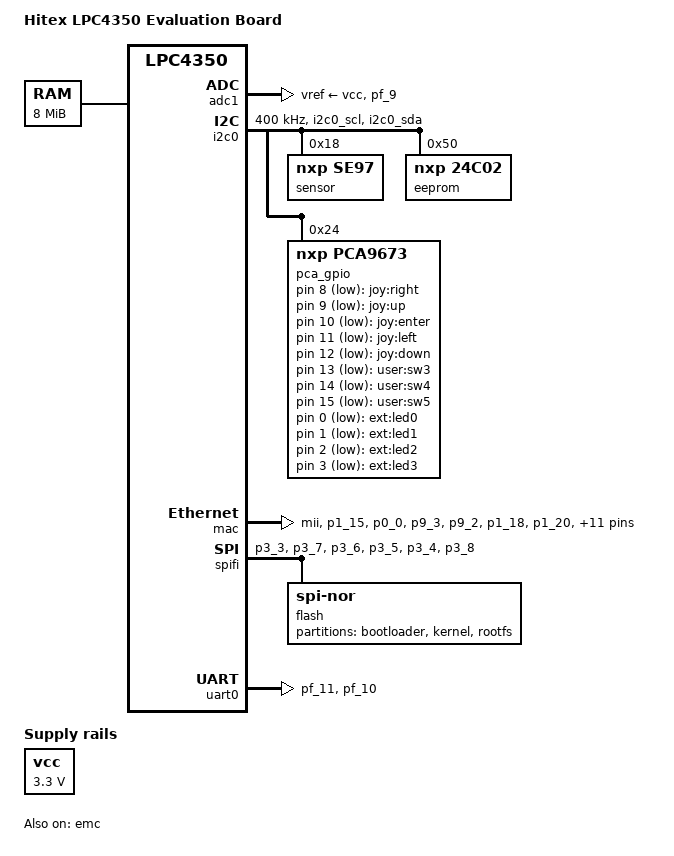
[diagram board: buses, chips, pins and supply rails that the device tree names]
/*
 * Hitex LPC4350 Evaluation Board
 *
 * Copyright 2015 Ariel D'Alessandro <ariel.dalessandro@gmail.com>
 *
 * This code is released using a dual license strategy: BSD/GPL
 * You can choose the licence that better fits your requirements.
 *
 * Released under the terms of 3-clause BSD License
 * Released under the terms of GNU General Public License Version 2.0
 *
 */
/dts-v1/;

#include "lpc18xx.dtsi"
#include "lpc4350.dtsi"

#include "dt-bindings/input/input.h"
#include "dt-bindings/gpio/gpio.h"

/ {
	model = "Hitex LPC4350 Evaluation Board";
	compatible = "hitex,lpc4350-eval-board", "nxp,lpc4350";

	aliases {
		serial0 = &uart0;
		serial1 = &uart1;
		serial2 = &uart2;
		serial3 = &uart3;
	};

	chosen {
		stdout-path = &uart0;
	};

	memory@28000000 {
		device_type = "memory";
		reg = <0x28000000 0x800000>; /* 8 MB */
	};

	pca_buttons {
		compatible = "gpio-keys-polled";
		#address-cells = <1>;
		#size-cells = <0>;
		poll-interval = <100>;
		autorepeat;

		button0 {
			label = "joy:right";
			linux,code = <KEY_RIGHT>;
			gpios = <&pca_gpio 8 GPIO_ACTIVE_LOW>;
		};

		button1 {
			label = "joy:up";
			linux,code = <KEY_UP>;
			gpios = <&pca_gpio 9 GPIO_ACTIVE_LOW>;
		};


		button2 {
			label = "joy:enter";
			linux,code = <KEY_ENTER>;
			gpios = <&pca_gpio 10 GPIO_ACTIVE_LOW>;
		};

		button3 {
			label = "joy:left";
			linux,code = <KEY_LEFT>;
			gpios = <&pca_gpio 11 GPIO_ACTIVE_LOW>;
		};

		button4 {
			label = "joy:down";
			linux,code = <KEY_DOWN>;
			gpios = <&pca_gpio 12 GPIO_ACTIVE_LOW>;
		};

		button5 {
			label = "user:sw3";
			linux,code = <KEY_F1>;
			gpios = <&pca_gpio 13 GPIO_ACTIVE_LOW>;
		};

		button6 {
			label = "user:sw4";
			linux,code = <KEY_F2>;
			gpios = <&pca_gpio 14 GPIO_ACTIVE_LOW>;
		};

		button7 {
			label = "user:sw5";
			linux,code = <KEY_F3>;
			gpios = <&pca_gpio 15 GPIO_ACTIVE_LOW>;
		};
	};

	pca_leds {
		compatible = "gpio-leds";

		led0 {
			label = "ext:led0";
			gpios = <&pca_gpio 0 GPIO_ACTIVE_LOW>;
			linux,default-trigger = "heartbeat";
		};

		led1 {
			label = "ext:led1";
			gpios = <&pca_gpio 1 GPIO_ACTIVE_LOW>;
		};

		led2 {
			label = "ext:led2";
			gpios = <&pca_gpio 2 GPIO_ACTIVE_LOW>;
		};

		led3 {
			label = "ext:led3";
			gpios = <&pca_gpio 3 GPIO_ACTIVE_LOW>;
		};
	};

	vcc: vcc_fixed {
		compatible = "regulator-fixed";
		regulator-name = "3v3io";
		regulator-min-microvolt = <3300000>;
		regulator-max-microvolt = <3300000>;
	};
};

&pinctrl {
	adc1_pins: adc1-pins {
		adc1_pins_cfg {
			pins = "pf_9";
			function = "adc";
			input-disable;
			bias-disable;
		};
	};

	emc_pins: emc-pins {
		emc_addr0_23_cfg {
			pins =	"p2_9",  "p2_10", "p2_11", "p2_12",
				"p2_13", "p1_0",  "p1_1",  "p1_2",
				"p2_8",  "p2_7",  "p2_6",  "p2_2",
				"p2_1",  "p2_0",  "p6_8",  "p6_7",
				"pd_16", "pd_15", "pe_0",  "pe_1",
				"pe_2",  "pe_3",  "pe_4",  "pa_4";
			function = "emc";
			slew-rate = <1>;
			bias-disable;
			input-enable;
			input-schmitt-disable;
		};

		emc_data0_15_cfg {
			pins =	"p1_7",  "p1_8",  "p1_9",  "p1_10",
				"p1_11", "p1_12", "p1_13", "p1_14",
				"p5_4",  "p5_5",  "p5_6",  "p5_7",
				"p5_0",  "p5_1",  "p5_2",  "p5_3";
			function = "emc";
			slew-rate = <1>;
			bias-disable;
			input-enable;
			input-schmitt-disable;
		};

		emc_we_oe_cfg {
			pins = "p1_6", "p1_3";
			function = "emc";
			slew-rate = <1>;
			bias-disable;
			input-enable;
			input-schmitt-disable;
		};

		emc_bls0_3_cfg {
			pins = "p1_4", "p6_6", "pd_13", "pd_10";
			function = "emc";
			slew-rate = <1>;
			bias-disable;
			input-enable;
			input-schmitt-disable;
		};

		emc_cs0_cs2_cfg {
			pins = "p1_5", "pd_12";
			function = "emc";
			slew-rate = <1>;
			bias-disable;
			input-enable;
			input-schmitt-disable;
		};

		emc_sdram_dqm0_3_cfg {
			pins = "p6_12", "p6_10", "pd_0", "pe_13";
			function = "emc";
			slew-rate = <1>;
			bias-disable;
			input-enable;
			input-schmitt-disable;
		};

		emc_sdram_ras_cas_cfg {
			pins = "p6_5", "p6_4";
			function = "emc";
			slew-rate = <1>;
			bias-disable;
			input-enable;
			input-schmitt-disable;
		};

		emc_sdram_dycs0_cfg {
			pins = "p6_9";
			function = "emc";
			slew-rate = <1>;
			bias-disable;
			input-enable;
			input-schmitt-disable;
		};

		emc_sdram_cke_cfg {
			pins = "p6_11";
			function = "emc";
			slew-rate = <1>;
			bias-disable;
			input-enable;
			input-schmitt-disable;
		};

		emc_sdram_clock_cfg {
			pins = "clk0", "clk1", "clk2", "clk3";
			function = "emc";
			slew-rate = <1>;
			bias-disable;
			input-enable;
			input-schmitt-disable;
		};
	};

	enet_mii_pins: enet-mii-pins {
		enet_mii_rxd0_3_cfg {
			pins = "p1_15", "p0_0", "p9_3", "p9_2";
			function = "enet";
			bias-disable;
			input-enable;
		};

		enet_mii_txd0_3_cfg {
			pins = "p1_18", "p1_20", "p9_4", "p9_5";
			function = "enet";
			bias-disable;
		};

		enet_mii_crs_col_cfg {
			pins = "p9_0", "p9_6";
			function = "enet";
			bias-disable;
			input-enable;
		};

		enet_mii_rx_clk_dv_er_cfg {
			pins = "pc_0", "p1_16", "p9_1";
			function = "enet";
			bias-disable;
			input-enable;
		};

		enet_mii_tx_clk_en_cfg {
			pins = "p1_19", "p0_1";
			function = "enet";
			bias-disable;
			input-enable;
		};

		enet_mdio_cfg {
			pins = "p1_17";
			function = "enet";
			bias-disable;
			input-enable;
		};

		enet_mdc_cfg {
			pins = "pc_1";
			function = "enet";
			bias-disable;
		};
	};

	i2c0_pins: i2c0-pins {
		i2c0_pins_cfg {
			pins = "i2c0_scl", "i2c0_sda";
			function = "i2c0";
			input-enable;
		};
	};

	spifi_pins: spifi-pins {
		spifi_clk_cfg {
			pins = "p3_3";
			function = "spifi";
			slew-rate = <1>;
			bias-disable;
			input-enable;
			input-schmitt-disable;
		};

		spifi_mosi_miso_sio2_3_cfg {
			pins = "p3_7", "p3_6", "p3_5", "p3_4";
			function = "spifi";
			slew-rate = <1>;
			bias-disable;
			input-enable;
			input-schmitt-disable;
		};

		spifi_cs_cfg {
			pins = "p3_8";
			function = "spifi";
			slew-rate = <1>;
			bias-disable;
			input-enable;
			input-schmitt-disable;
		};
	};

	uart0_pins: uart0-pins {
		uart0_rx_cfg {
			pins = "pf_11";
			function = "uart0";
			input-schmitt-disable;
			bias-disable;
			input-enable;
		};

		uart0_tx_cfg {
			pins = "pf_10";
			function = "uart0";
			bias-pull-down;
		};
	};
};

&adc1 {
	status = "okay";
	vref-supply = <&vcc>;
	pinctrl-names = "default";
	pinctrl-0 = <&adc1_pins>;
};

&emc {
	status = "okay";
	pinctrl-names = "default";
	pinctrl-0 = <&emc_pins>;

	cs0 {
		#address-cells = <2>;
		#size-cells = <1>;
		ranges;

		mpmc,cs = <0>;
		mpmc,memory-width = <16>;
		mpmc,byte-lane-low;
		mpmc,write-enable-delay = <0>;
		mpmc,output-enable-delay = <0>;
		mpmc,read-access-delay = <70>;
		mpmc,page-mode-read-delay = <70>;

		flash@0,0 {
			compatible = "sst,sst39vf320", "cfi-flash";
			reg = <0 0 0x400000>;
			bank-width = <2>;
			#address-cells = <1>;
			#size-cells = <1>;

			partition@0 {
				label = "bootloader";
				reg = <0x000000 0x040000>; /* 256 KiB */
			};

			partition@1 {
				label = "kernel";
				reg = <0x040000 0x2C0000>; /* 2.75 MiB */
			};

			partition@2 {
				label = "rootfs";
				reg = <0x300000 0x100000>; /* 1 MiB */
			};
		};
	};

	cs2 {
		#address-cells = <2>;
		#size-cells = <1>;
		ranges;

		mpmc,cs = <2>;
		mpmc,memory-width = <16>;
		mpmc,byte-lane-low;
		mpmc,write-enable-delay = <0>;
		mpmc,output-enable-delay = <30>;
		mpmc,read-access-delay = <90>;
		mpmc,page-mode-read-delay = <55>;
		mpmc,write-access-delay = <55>;
		mpmc,turn-round-delay = <55>;

		ext_sram: sram@2,0 {
			compatible = "mmio-sram";
			reg = <2 0 0x80000>; /* 512 KiB SRAM on IS62WV25616 */
		};
	};
};

&enet_tx_clk {
	clock-frequency = <25000000>;
};

&i2c0 {
	status = "okay";
	pinctrl-names = "default";
	pinctrl-0 = <&i2c0_pins>;
	clock-frequency = <400000>;

	/* NXP SE97BTP with temperature sensor + eeprom */
	sensor@18 {
		compatible = "nxp,se97", "jedec,jc-42.4-temp";
		reg = <0x18>;
	};

	eeprom@50 {
		compatible = "nxp,24c02", "atmel,24c02";
		reg = <0x50>;
	};

	pca_gpio: gpio@24 {
		compatible = "nxp,pca9673";
		reg = <0x24>;
		gpio-controller;
		#gpio-cells = <2>;
	};
};

&mac {
	status = "okay";
	phy-mode = "mii";
	pinctrl-names = "default";
	pinctrl-0 = <&enet_mii_pins>;
};

&spifi {
	status = "okay";
	pinctrl-names = "default";
	pinctrl-0 = <&spifi_pins>;

	flash {
		compatible = "jedec,spi-nor";
		spi-rx-bus-width = <4>;
		#address-cells = <1>;
		#size-cells = <1>;

		partition@0 {
			label = "bootloader";
			reg = <0x000000 0x040000>; /* 256 KiB */
		};

		partition@1 {
			label = "kernel";
			reg = <0x040000 0x2c0000>; /* 2.75 MiB */
		};

		partition@2 {
			label = "rootfs";
			reg = <0x300000 0x500000>; /* 5 MiB */
		};
	};
};

&uart0 {
	status = "okay";
	pinctrl-names = "default";
	pinctrl-0 = <&uart0_pins>;
};
